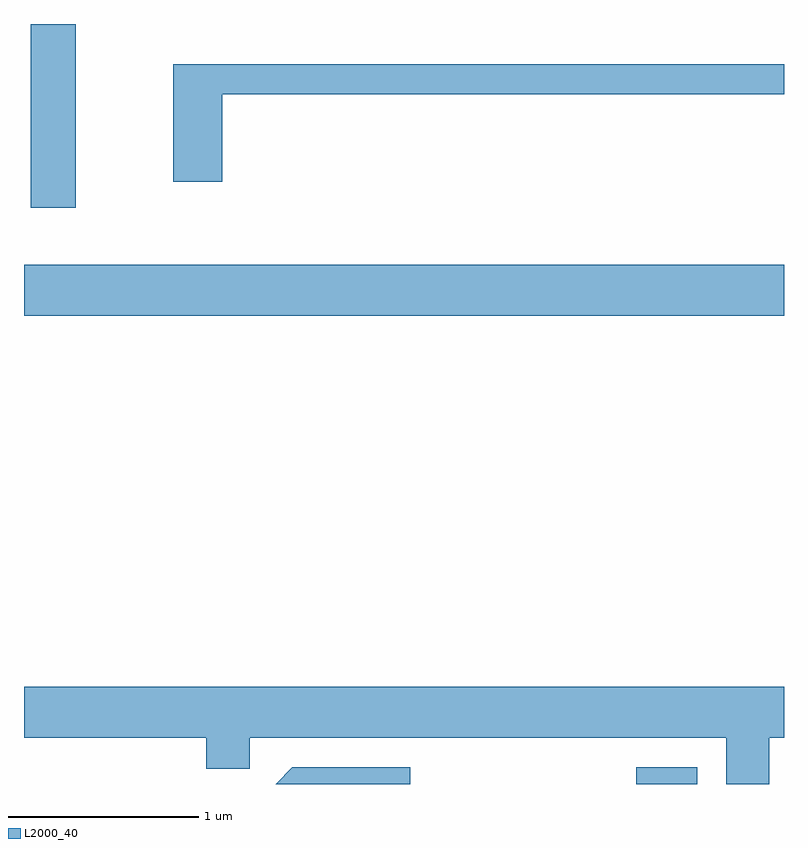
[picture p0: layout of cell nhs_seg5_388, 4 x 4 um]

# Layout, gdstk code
import gdstk
lib = gdstk.Library(unit=1e-6, precision=1e-09)
def R(c, l, rs):  # rectangles x0, y0, x1, y1
    for r in rs: c.add(gdstk.rectangle(r[:2], r[2:], *l))
def P(c, l, *ps):  # polygons
    for p in ps: c.add(gdstk.Polygon(p, *l))
L2000_40 = (2000, 40)

nhs_seg5_388 = lib.new_cell('nhs_seg5_388')
R(nhs_seg5_388, L2000_40, [(198.833,1492.072,199.154,1492.159), (195.611,1494.536,199.611,1494.804), (195.646,1495.106,195.884,1496.072)])
P(nhs_seg5_388, L2000_40, [(196.654,1495.701),(199.611,1495.701),(199.611,1495.859),(196.396,1495.859),(196.396,1495.241),(196.654,1495.241)],
  [(199.534,1492.316),(199.611,1492.316),(199.611,1492.584),(195.611,1492.584),(195.611,1492.316),(196.571,1492.316),(196.571,1492.151),(196.799,1492.151),(196.799,1492.316),(199.306,1492.316),(199.306,1492.072),(199.534,1492.072)],
  [(197.644,1492.159),(197.024,1492.159),(196.937,1492.072),(197.644,1492.072)])

lib.write_gds('nhs_seg5_388.gds')
